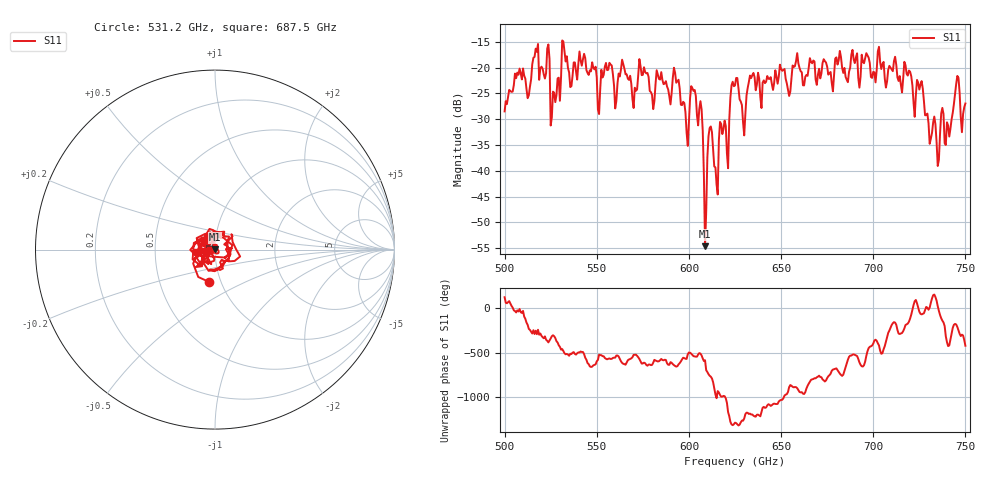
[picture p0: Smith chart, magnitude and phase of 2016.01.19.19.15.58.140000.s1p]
!Created with skrf (http://scikit-rf.org).
# GHz S RI R 50.0
!freq ReS11 ImS11
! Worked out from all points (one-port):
!   401 points, 500 GHz to 750 GHz, reference 50 ohm
!   lowest |S11| = -54.6 dB at 608.8 GHz (marker M1), VSWR 1.00, Z = 49.9 + j0.133 ohm
!   |S11| at or under -10 dB: start of sweep to end of sweep
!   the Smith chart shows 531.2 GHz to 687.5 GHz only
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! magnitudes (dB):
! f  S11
! 500 GHz  -28.5
! 506.9 GHz  -21.0
! 513.1 GHz  -25.4
! 516.9 GHz  -16.3
! 523.1 GHz  -16.3
! 526.2 GHz  -24.7
! 531.2 GHz  -14.7
! 551.2 GHz  -29.0
! 562.5 GHz  -21.7
! 570.6 GHz  -23.9
! 574.4 GHz  -21.5
! 580 GHz  -25.3
! 593.8 GHz  -22.6
! 598.8 GHz  -32.6
! 601.9 GHz  -24.0
! 606.2 GHz  -26.5
! 608.8 GHz  -54.6
! 611.2 GHz  -31.7
! 615 GHz  -42.7
! 625 GHz  -23.5
! 629.4 GHz  -30.6
! 634.4 GHz  -21.5
! 656.2 GHz  -19.6
! 687.5 GHz  -20.0
! 718.8 GHz  -21.5
! 735 GHz  -39.1
! 745.6 GHz  -21.6
! 750 GHz  -27.0
